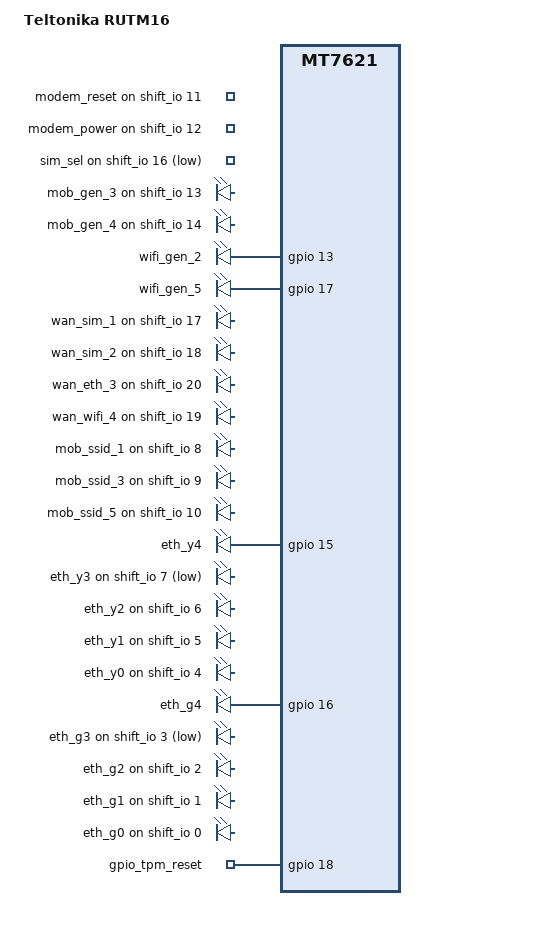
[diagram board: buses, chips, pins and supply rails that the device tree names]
#include "common-mt7621/rutm.dtsi"
#include "common-mt7621/shiftreg.dtsi"
#include "common-mt7621/input-output.dtsi"
#include "common-mt7621/tpm-tis.dtsi"

// PWR, RST |G0|G10|
// IN, OUT  |G8|G12|
// SR CTRL  |G5|G9|G11|G14|
// WAN      |S17-S20|
// WIFI     |G13|G17|
// ETH      |S0-S7|G15|G16|
// 4G       |S8-S14|S16|
// TPM      |G18|
/ {
	model = "Teltonika RUTM16";

	ext_io {
		shift_io: shift_io@0 {
			registers-number = <3>;
			enable-gpios = <&gpio 14 GPIO_ACTIVE_LOW>;
		};
	};

	gpio-export {
		compatible = "gpio-export";
		#size-cells = <0>;

		gpio_modem_reset {
			gpio-export,name = "modem_reset";
			gpio-export,output = <0>;
			gpios = <&shift_io 11 GPIO_ACTIVE_HIGH>;
		};

		gpio_modem_power {
			gpio-export,name = "modem_power";
			gpio-export,output = <1>; // tmp
			gpios = <&shift_io 12 GPIO_ACTIVE_HIGH>;
		};

		gpio_sim_select {
			gpio-export,name = "sim_sel";
			gpio-export,output = <0>;
			gpios = <&shift_io 16 GPIO_ACTIVE_LOW>;
		};
	};

	leds {
		led_gen_3 {
			label = "mob_gen_3";
			gpios = <&shift_io 13 GPIO_ACTIVE_HIGH>;
		};

		led_gen_4 {
			label = "mob_gen_4";
			gpios = <&shift_io 14 GPIO_ACTIVE_HIGH>;
		};

		led_wifi_24 {
			label = "wifi_gen_2";
			gpios = <&gpio 13 GPIO_ACTIVE_HIGH>;
		};

		led_wifi_50 {
			label = "wifi_gen_5";
			gpios = <&gpio 17 GPIO_ACTIVE_HIGH>;
		};

		led_wan_sim1 {
			label = "wan_sim_1";
			gpios = <&shift_io 17 GPIO_ACTIVE_HIGH>;
		};

		led_wan_sim2 {
			label = "wan_sim_2";
			gpios = <&shift_io 18 GPIO_ACTIVE_HIGH>;
		};

		led_wan_eth {
			label = "wan_eth_3";
			gpios = <&shift_io 20 GPIO_ACTIVE_HIGH>;
		};

		led_wan_wifi {
			label = "wan_wifi_4";
			gpios = <&shift_io 19 GPIO_ACTIVE_HIGH>;
		};

		led_ssid_1 {
			label = "mob_ssid_1";
			gpios = <&shift_io 8 GPIO_ACTIVE_HIGH>;
			linux,default-trigger = "timer";
		};

		led_ssid_3 {
			label = "mob_ssid_3";
			gpios = <&shift_io 9 GPIO_ACTIVE_HIGH>;
			linux,default-trigger = "timer";
		};

		led_ssid_5 {
			label = "mob_ssid_5";
			gpios = <&shift_io 10 GPIO_ACTIVE_HIGH>;
			linux,default-trigger = "timer";
		};

		led_eth_y4 {
			label = "eth_y4";
			gpios = <&gpio 15 GPIO_ACTIVE_HIGH>;
		};

		led_eth_y3 {
			label = "eth_y3";
			gpios = <&shift_io 7 GPIO_ACTIVE_LOW>;
		};

		led_eth_y2 {
			label = "eth_y2";
			gpios = <&shift_io 6 GPIO_ACTIVE_HIGH>;
		};

		led_eth_y1 {
			label = "eth_y1";
			gpios = <&shift_io 5 GPIO_ACTIVE_HIGH>;
		};

		led_eth_y0 {
			label = "eth_y0";
			gpios = <&shift_io 4 GPIO_ACTIVE_HIGH>;
		};

		led_eth_g4 {
			label = "eth_g4";
			gpios = <&gpio 16 GPIO_ACTIVE_HIGH>;
		};

		led_eth_g3 {
			label = "eth_g3";
			gpios = <&shift_io 3 GPIO_ACTIVE_LOW>;
		};

		led_eth_g2 {
			label = "eth_g2";
			gpios = <&shift_io 2 GPIO_ACTIVE_HIGH>;
		};

		led_eth_g1 {
			label = "eth_g1";
			gpios = <&shift_io 1 GPIO_ACTIVE_HIGH>;
		};

		led_eth_g0 {
			label = "eth_g0";
			gpios = <&shift_io 0 GPIO_ACTIVE_HIGH>;
		};

		gpio_tpm_reset {
			gpio-export,name = "tpm_reset";
			gpio-export,output = <1>;
			gpios = <&gpio 18 GPIO_ACTIVE_HIGH>;
		};
	};

	tlt_gpios {
		gpiochip_info {
			hw_0 {
				gpiochip_3 = <24>;
			};
		};

		misc {
			GPIO_107 {
				line_name = "GPIO_MODEM_RESET_1";
			};
			GPIO_108 {
				line_name = "GPIO_MODEM_POWER_1";
			};
			GPIO_112 {
				line_name = "GPIO_SIM_SELECT";
			};
			GPIO_18 {
				line_name = "TPM_RESET";
			};
		};
	};
};

&switch0 {
	ports {
		port@0 {
			status = "okay";
			label = "lan1";
		};

		port@1 {
			status = "okay";
			label = "lan2";
		};

		port@2 {
			status = "okay";
			label = "lan3";
		};

		port@3 {
			status = "okay";
			label = "lan4";
		};
	};
};

&mnfinfo {
	sim_cfg {
		// sim_cfg inverted due to same rutm54 project base
		default = "1111120_1112120_1121220";
		keep-sim-presence;
	};
};
